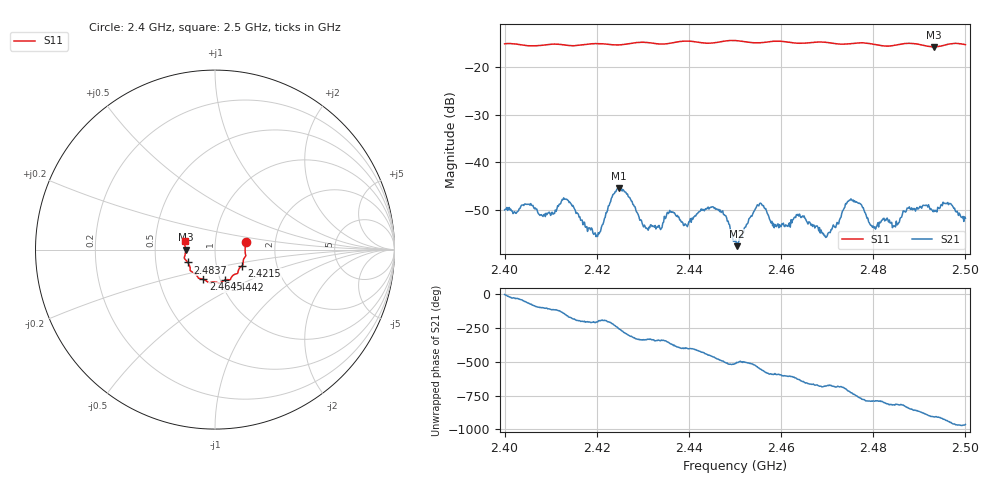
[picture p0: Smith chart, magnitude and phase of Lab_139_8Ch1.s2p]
# Hz S RI R 50
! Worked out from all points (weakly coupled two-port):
!   601 points, 2.4 GHz to 2.5 GHz, reference 50 ohm
!   highest |S21| = -45.40 dB at 2.4248 GHz (marker M1); lowest = -57.6 dB at 2.4505 GHz (marker M2)
!   lowest |S11| = -15.7 dB at 2.4932 GHz (marker M3), VSWR 1.39, Z = 35.9 - j0.0506 ohm
!   |S11| at or under -10 dB: start of sweep to end of sweep
!   S12 and S22 are empty: the file has one direction only
!   S11 on the Smith chart (normalised r, x): 2.4 GHz: 1.41, +0.12; 2.4215 GHz: 1.33, -0.25; 2.4442 GHz: 1.05, -0.37; 2.4645 GHz: 0.83, -0.29; 2.4837 GHz: 0.73, -0.11; 2.5 GHz: 0.71, +0.07
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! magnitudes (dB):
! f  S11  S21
! 2.4 GHz  -15.1  -50.0
! 2.4132 GHz  -15.3  -47.8
! 2.4167 GHz  -15.3  -52.2
! 2.4197 GHz  -15.0  -54.8
! 2.4215 GHz  -15.1  -52.5
! 2.4248 GHz  -15.3  -45.4
! 2.4333 GHz  -15.1  -53.6
! 2.4442 GHz  -15.0  -49.4
! 2.4477 GHz  -14.5  -51.0
! 2.45 GHz  -14.4  -56.5
! 2.4505 GHz  -14.4  -57.6
! 2.4552 GHz  -14.9  -49.1
! 2.4587 GHz  -14.5  -53.1
! 2.4645 GHz  -15.0  -51.5
! 2.4667 GHz  -14.8  -53.0
! 2.4702 GHz  -14.8  -54.9
! 2.4752 GHz  -15.1  -47.7
! 2.48 GHz  -15.2  -53.4
! 2.4833 GHz  -15.6  -52.5
! 2.4837 GHz  -15.5  -52.8
! 2.4932 GHz  -15.7  -50.0
! 2.5 GHz  -15.3  -51.7
